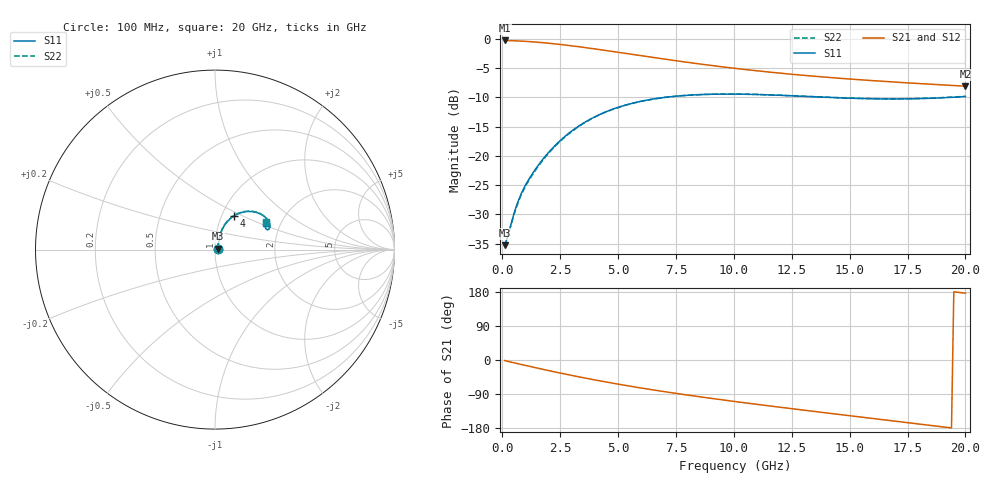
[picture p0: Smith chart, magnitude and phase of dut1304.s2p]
! Touchstone file exported from HFSS 2024.1.0
!  File:  C:/UserFiles/LocalFiles/RDL_TSV_Batchsim/temp_RDL_TSV_1304_1780383192.aedt
!  Generated:  03:14:17 PM Jun  2, 2026
!  Design:  RDL_TSV
!  Project:  temp_RDL_TSV_1304_1780383192
!  Setup:  Setup1
!  Solution:  Sweep
! Variables:
!  dtsv = 5.1um
!  hbump = 3um
!  htsv = 89.88um
!  ldown = 130.37um
!  lrdl = 507.36um
!  p = 40
!  p1 = 43.9um
!  rhole = 10um
!  subl = 2420.55um
!  t = 450um
!  tdown = 2.55um
!  trdl = 2.1um
!  viad = 10um
!  wdown = 23.54um
!  wrdl = 17.38um
!  xbump = 18um
# GHz S MA R 50.000000
! Terminal data exported
! Port[1] = TM1_1_T1
! Port[2] = TM1_4_T1
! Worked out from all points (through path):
!   200 points, 100 MHz to 20 GHz, reference 50 ohm
!   highest |S21| = -0.28 dB at 100 MHz (marker M1); lowest = -8.1 dB at 20 GHz (marker M2)
!   group delay of S21, straight-line fit = 24.3 ps
!   lowest |S11| = -35.3 dB at 100 MHz (marker M3), VSWR 1.03, Z = 51.7 + j0.543 ohm
!   |S11| at or under -10 dB: start of sweep to 7.036 GHz; 14.03 GHz to 19.41 GHz (5.379 GHz wide, 32.2 % of centre)
!   |S22| runs from -35.4 to -9.4 dB; largest |S21 - S12| = 1.1e-14
!   S11 on the Smith chart (normalised r, x): 100 MHz: 1.03, +0.01; 4 GHz: 1.14, +0.45; 20 GHz: 1.68, +0.56
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0.1  0.01717 17.8  0.9679 -1.5  0.9679 -1.5  0.01694 17.6
! Gamma 0 0 0 0
! Port Impedance 50 0 50 0
0.2  0.01957 32.5  0.9668 -3.0  0.9668 -3.0  0.01924 32.2
0.5  0.03193 56.1  0.9621 -7.3  0.9621 -7.3  0.03118 55.9
0.7  0.04179 61.9  0.9583 -10.1  0.9583 -10.1  0.04077 62.0
1  0.05617 65.9  0.9513 -14.4  0.9513 -14.4  0.05483 66.2
1.3  0.07047 68.5  0.9426 -18.5  0.9426 -18.5  0.06885 69.0
1.8  0.09628 70.4  0.9249 -25.3  0.9249 -25.3  0.09438 71.1
2.3  0.1239 69.9  0.9039 -31.9  0.9039 -31.9  0.1219 70.8
2.9  0.1576 67.5  0.8757 -39.5  0.8757 -39.5  0.1558 68.4
3.5  0.1903 63.9  0.8455 -46.8  0.8455 -46.8  0.1888 64.8
4  0.2158 60.5  0.8194 -52.6  0.8194 -52.6  0.2145 61.3
4.6  0.2434 56.2  0.788 -59.4  0.788 -59.4  0.2424 57.0
5.3  0.2709 51.2  0.7519 -66.8  0.7519 -66.8  0.2701 51.9
6.8  0.3118 41.4  0.6798 -81.7  0.6798 -81.7  0.3116 42.0
8.4  0.3327 32.9  0.6141 -96.0  0.6141 -96.0  0.3328 33.4
10.1  0.3369 26.4  0.5577 -110.0  0.5577 -110.0  0.3373 26.9
11.7  0.3309 22.6  0.5156 -122.4  0.5156 -122.4  0.3315 23.0
13.4  0.3202 20.7  0.4802 -135.2  0.4802 -135.2  0.321 21.1
15  0.3109 20.9  0.4534 -147.0  0.4534 -147.0  0.3118 21.3
16.7  0.3062 22.8  0.43 -159.5  0.43 -159.5  0.3073 23.1
18.3  0.3094 25.3  0.4114 -171.2  0.4114 -171.2  0.3105 25.5
20  0.3214 27.8  0.3938 176.3  0.3938 176.3  0.3226 28.0
